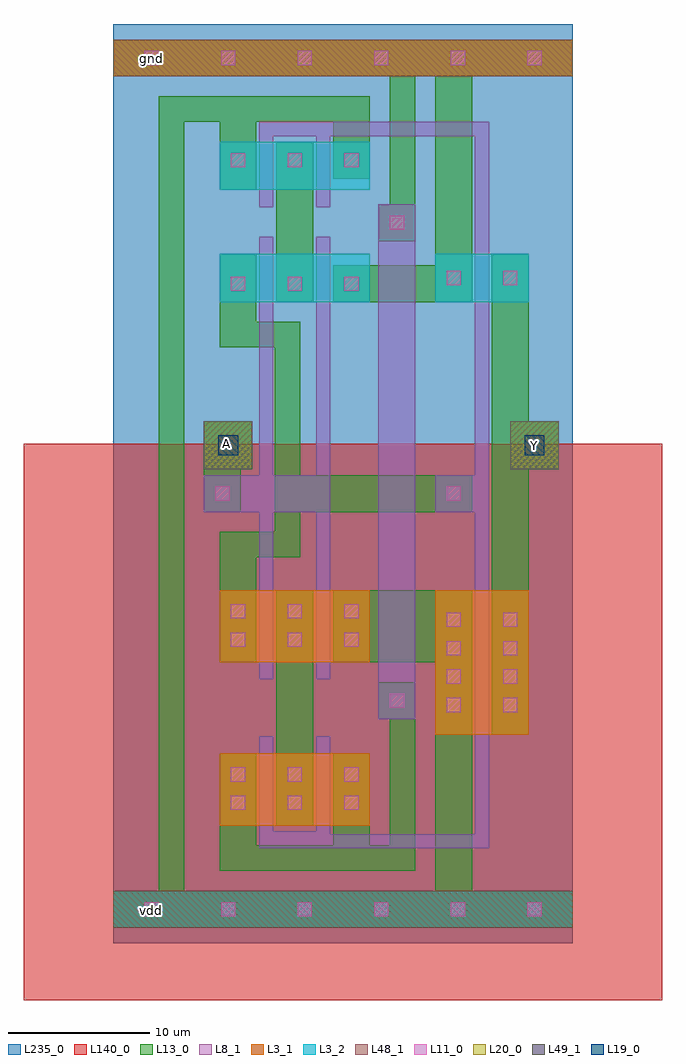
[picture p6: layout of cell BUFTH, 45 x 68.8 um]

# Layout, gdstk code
import gdstk
lib = gdstk.Library(unit=1e-6, precision=1e-09)
def R(c, l, rs):  # rectangles x0, y0, x1, y1
    for r in rs: c.add(gdstk.rectangle(r[:2], r[2:], *l))
def A(c, l, x, y, w, h, nx, ny, dx, dy):  # array of equal rectangles
    R(c, l, [(x+i*dx, y+j*dy, x+i*dx+w, y+j*dy+h) for i in range(nx) for j in range(ny)])
def P(c, l, *ps):  # polygons
    for p in ps: c.add(gdstk.Polygon(p, *l))
L3_1 = (3, 1)
L3_2 = (3, 2)
L8_1 = (8, 1)
L11_0 = (11, 0)
L13_0 = (13, 0)
L19_0 = (19, 0)
L20_0 = (20, 0)
L48_1 = (48, 1)
L49_1 = (49, 1)
L140_0 = (140, 0)
L235_0 = (235, 0)

bufth = lib.new_cell('BUFTH')
R(bufth, L3_1, [(7.5,-56.5,14.1,-51.4), (11.5,-56.5,18.1,-51.4), (22.7,-50.1,29.3,-39.9), (7.5,-45,14.1,-39.9), (11.5,-45,18.1,-39.9), (0,-3.7,16.2,-1.1), (16.2,-3.7,32.4,-1.1)])
R(bufth, L3_2, [(0,-63.7,16.2,-61.1), (16.2,-63.7,32.4,-61.1), (7.5,-19.6,18.1,-16.2), (7.5,-19.6,18.1,-16.2), (22.7,-19.6,29.3,-16.2), (7.5,-11.7,18.1,-8.3), (7.5,-11.7,18.1,-8.3)])
R(bufth, L8_1, [(18.7,-49,21.3,-12.7)])
P(bufth, L8_1, [(10.3,-46.2),(10.3,-34.4),(6.4,-34.4),(6.4,-31.8),(10.3,-31.8),(10.3,-15),(11.3,-15),(11.3,-31.8),(14.3,-31.8),(14.3,-15),(15.3,-15),(15.3,-46.2),(14.3,-46.2),(14.3,-34.4),(11.3,-34.4),(11.3,-46.2)],
  [(10.3,-58.1),(10.3,-50.2),(11.3,-50.2),(11.3,-56.9),(14.3,-56.9),(14.3,-50.2),(15.3,-50.2),(15.3,-57.1),(25.5,-57.1),(25.5,-34.4),(22.7,-34.4),(22.7,-31.8),(25.5,-31.8),(25.5,-7.9),(15.3,-7.9),(15.3,-12.9),(14.3,-12.9),(14.3,-7.9),(11.3,-7.9),(11.3,-12.9),(10.3,-12.9),(10.3,-6.9),(26.5,-6.9),(26.5,-58.1)])
A(bufth, L11_0, 7.6, -62.9, 1, 1, 3, 1, 5.4, 0)
A(bufth, L11_0, 23.5, -48.5, 1, 1, 1, 4, 0, 2)
A(bufth, L11_0, 27.5, -48.5, 1, 1, 1, 4, 0, 2)
A(bufth, L11_0, 7.6, -2.9, 1, 1, 4, 1, 5.4, 0)
R(bufth, L11_0, [(2.2,-62.9,3.2,-61.9), (2.2,-62.9,3.2,-61.9), (7.6,-62.9,8.6,-61.9), (7.6,-62.9,8.6,-61.9), (7.6,-62.9,8.6,-61.9), (18.4,-62.9,19.4,-61.9), (23.8,-62.9,24.8,-61.9), (23.8,-62.9,24.8,-61.9), (23.8,-62.9,24.8,-61.9), (23.8,-62.9,24.8,-61.9), (29.2,-62.9,30.2,-61.9), (8.3,-55.4,9.3,-54.4), (12.3,-55.4,13.3,-54.4), (12.3,-55.4,13.3,-54.4), (16.3,-55.4,17.3,-54.4), (8.3,-53.4,9.3,-52.4), (12.3,-53.4,13.3,-52.4), (12.3,-53.4,13.3,-52.4), (16.3,-53.4,17.3,-52.4), (19.5,-48.2,20.5,-47.2), (8.3,-43.9,9.3,-42.9), (12.3,-43.9,13.3,-42.9), (12.3,-43.9,13.3,-42.9), (16.3,-43.9,17.3,-42.9), (8.3,-41.9,9.3,-40.9), (12.3,-41.9,13.3,-40.9), (12.3,-41.9,13.3,-40.9), (16.3,-41.9,17.3,-40.9), (7.2,-33.6,8.2,-32.6), (23.5,-33.6,24.5,-32.6), (8.3,-18.8,9.3,-17.8), (8.3,-18.8,9.3,-17.8), (12.3,-18.8,13.3,-17.8), (12.3,-18.8,13.3,-17.8), (16.3,-18.8,17.3,-17.8), (16.3,-18.8,17.3,-17.8), (23.5,-18.4,24.5,-17.4), (27.5,-18.4,28.5,-17.4), (27.5,-18.4,28.5,-17.4), (19.5,-14.5,20.5,-13.5), (8.3,-10.1,9.3,-9.1), (8.3,-10.1,9.3,-9.1), (12.3,-10.1,13.3,-9.1), (12.3,-10.1,13.3,-9.1), (16.3,-10.1,17.3,-9.1), (16.3,-10.1,17.3,-9.1), (2.2,-2.9,3.2,-1.9), (7.6,-2.9,8.6,-1.9), (23.8,-2.9,24.8,-1.9), (29.2,-2.9,30.2,-1.9)])
R(bufth, L13_0, [(0,-63.7,32.4,-61.1), (11.5,-56.5,14.1,-39.9), (11.5,-19.6,14.1,-8.3), (0,-3.7,32.4,-1.1)])
P(bufth, L13_0, [(18.7,-15.3),(18.7,-12.7),(19.5,-12.7),(19.5,-3.7),(21.3,-3.7),(21.3,-15.3)],
  [(15.5,-19.6),(15.5,-17),(22.7,-17),(22.7,-3.7),(25.3,-3.7),(25.3,-19.6)],
  [(6.4,-34.4),(6.4,-28),(9.8,-28),(9.8,-31.4),(9,-31.4),(9,-34.4)],
  [(7.5,-45),(7.5,-35.8),(11.4,-35.8),(11.4,-22.8),(7.5,-22.8),(7.5,-16.2),(10.1,-16.2),(10.1,-21),(13.2,-21),(13.2,-31.8),(25.3,-31.8),(25.3,-34.4),(13.2,-34.4),(13.2,-37.6),(10.1,-37.6),(10.1,-45)],
  [(26.7,-50.1),(26.7,-16.2),(29.3,-16.2),(29.3,-28),(31.4,-28),(31.4,-31.4),(29.3,-31.4),(29.3,-50.1)],
  [(7.5,-59.7),(7.5,-51.4),(10.1,-51.4),(10.1,-57.9),(15.5,-57.9),(15.5,-51.4),(18.1,-51.4),(18.1,-57.9),(19.5,-57.9),(19.5,-49),(18.7,-49),(18.7,-46.4),(21.3,-46.4),(21.3,-59.7)],
  [(3.2,-61.1),(3.2,-5.1),(18.1,-5.1),(18.1,-10.9),(15.5,-10.9),(15.5,-6.9),(10.1,-6.9),(10.1,-11.7),(7.5,-11.7),(7.5,-6.9),(5,-6.9),(5,-61.1)],
  [(22.7,-61.1),(22.7,-45),(15.5,-45),(15.5,-39.9),(25.3,-39.9),(25.3,-61.1)])
R(bufth, L19_0, [(7.4,-30.4,8.8,-29), (29,-30.4,30.4,-29)])
R(bufth, L20_0, [(6.4,-31.4,9.8,-28), (28,-31.4,31.4,-28)])
R(bufth, L48_1, [(0,-63.7,16.2,-61.1), (16.2,-63.7,32.4,-61.1), (0,-3.7,16.2,-1.1), (16.2,-3.7,32.4,-1.1)])
R(bufth, L49_1, [(6.4,-31.4,9.8,-28), (28,-31.4,31.4,-28)])
R(bufth, L140_0, [(-6.3,-68.8,38.7,-29.6)])
R(bufth, L235_0, [(0,-64.8,32.4,0)])
bufth.add(gdstk.Label('gnd', (2.7,-2.4), layer=48, texttype=0))
bufth.add(gdstk.Label('vdd', (2.7,-62.5), layer=48, texttype=0))
bufth.add(gdstk.Label('A', (8,-29.6), layer=49, texttype=0))
bufth.add(gdstk.Label('Y', (29.7,-29.7), layer=49, texttype=0))

lib.write_gds('BUFTH.gds')
